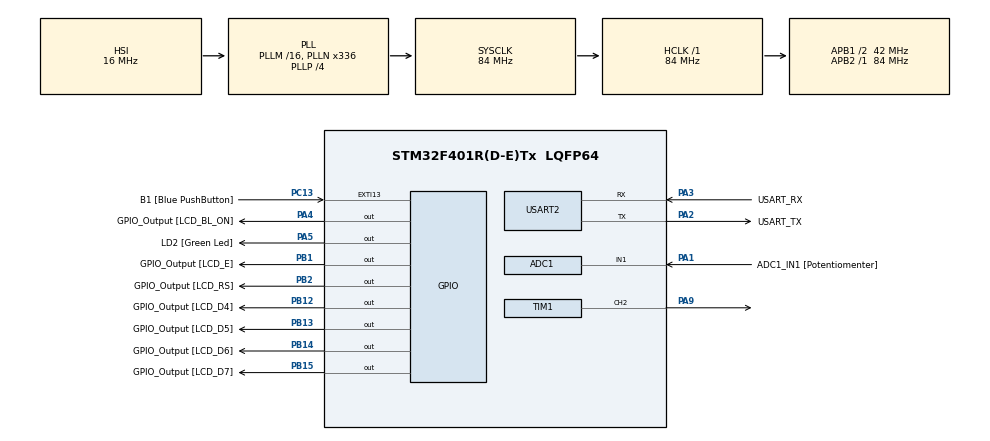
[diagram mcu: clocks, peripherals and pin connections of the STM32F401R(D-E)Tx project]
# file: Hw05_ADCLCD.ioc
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ADC1.Channel-0\#ChannelRegularConversion=ADC_CHANNEL_1
ADC1.DMAContinuousRequests=ENABLE
ADC1.ExternalTrigConv=ADC_EXTERNALTRIGCONV_T2_TRGO
ADC1.NbrOfConversionFlag=1
ADC1.Rank-0\#ChannelRegularConversion=1
ADC1.SamplingTime-0\#ChannelRegularConversion=ADC_SAMPLETIME_480CYCLES
ADC1.master=1
Dma.ADC1.0.Direction=DMA_PERIPH_TO_MEMORY
Dma.ADC1.0.FIFOMode=DMA_FIFOMODE_DISABLE
Dma.ADC1.0.Instance=DMA2_Stream0
Dma.ADC1.0.MemDataAlignment=DMA_MDATAALIGN_HALFWORD
Dma.ADC1.0.MemInc=DMA_MINC_ENABLE
Dma.ADC1.0.Mode=DMA_CIRCULAR
Dma.ADC1.0.PeriphDataAlignment=DMA_PDATAALIGN_HALFWORD
Dma.ADC1.0.PeriphInc=DMA_PINC_DISABLE
Dma.ADC1.0.Priority=DMA_PRIORITY_LOW
Dma.Request0=ADC1
Mcu.Family=STM32F4
Mcu.Name=STM32F401R(D-E)Tx
Mcu.Package=LQFP64
NVIC.DMA2_Stream0_IRQn=true\:0\:0\:false\:false\:true\:false\:true\:true
NVIC.PriorityGroup=NVIC_PRIORITYGROUP_4
PA1.GPIO_Label=ADC1_IN1 [Potentiomenter]
PA1.Signal=ADCx_IN1
PA13.GPIO_Label=TMS
PA13.Mode=Trace_Asynchronous_SW
PA13.Signal=SYS_JTMS-SWDIO
PA14.GPIO_Label=TCK
PA14.Mode=Trace_Asynchronous_SW
PA14.Signal=SYS_JTCK-SWCLK
PA2.GPIO_Label=USART_TX
PA2.GPIO_Mode=GPIO_MODE_AF_PP
PA2.GPIO_PuPd=GPIO_NOPULL
PA2.GPIO_Speed=GPIO_SPEED_FREQ_LOW
PA2.Mode=Asynchronous
PA2.Signal=USART2_TX
PA3.GPIO_Label=USART_RX
PA3.GPIO_Mode=GPIO_MODE_AF_PP
PA3.GPIO_PuPd=GPIO_NOPULL
PA3.GPIO_Speed=GPIO_SPEED_FREQ_LOW
PA3.Mode=Asynchronous
PA3.Signal=USART2_RX
PA4.GPIO_Label=GPIO_Output [LCD_BL_ON]
PA4.Signal=GPIO_Output
PA5.GPIO_Label=LD2 [Green Led]
PA5.GPIO_Mode=GPIO_MODE_OUTPUT_PP
PA5.GPIO_PuPd=GPIO_NOPULL
PA5.GPIO_Speed=GPIO_SPEED_FREQ_LOW
PA5.Signal=GPIO_Output
PA9.Signal=S_TIM1_CH2
PB1.GPIO_Label=GPIO_Output [LCD_E]
PB1.Signal=GPIO_Output
PB12.GPIO_Label=GPIO_Output [LCD_D4]
PB12.Signal=GPIO_Output
PB13.GPIO_Label=GPIO_Output [LCD_D5]
PB13.Signal=GPIO_Output
PB14.GPIO_Label=GPIO_Output [LCD_D6]
PB14.Signal=GPIO_Output
PB15.GPIO_Label=GPIO_Output [LCD_D7]
PB15.Signal=GPIO_Output
PB2.GPIO_Label=GPIO_Output [LCD_RS]
PB2.Signal=GPIO_Output
PB3.GPIO_Label=SWO
PB3.Mode=Trace_Asynchronous_SW
PB3.Signal=SYS_JTDO-SWO
PC13-ANTI_TAMP.GPIO_Label=B1 [Blue PushButton]
PC13-ANTI_TAMP.GPIO_ModeDefaultEXTI=GPIO_MODE_IT_FALLING
PC13-ANTI_TAMP.GPIO_PuPd=GPIO_NOPULL
PC13-ANTI_TAMP.Signal=GPXTI13
PC14-OSC32_IN.Mode=LSE-External-Oscillator
PC14-OSC32_IN.Signal=RCC_OSC32_IN
PC15-OSC32_OUT.Mode=LSE-External-Oscillator
PC15-OSC32_OUT.Signal=RCC_OSC32_OUT
PH0\ -\ OSC_IN.Mode=HSE-External-Clock-Source
PH0\ -\ OSC_IN.Signal=RCC_OSC_IN
PH1\ -\ OSC_OUT.Mode=HSE-External-Clock-Source
PH1\ -\ OSC_OUT.Signal=RCC_OSC_OUT
ProjectManager.HeapSize=0x200
ProjectManager.StackSize=0x400
ProjectManager.TargetToolchain=STM32CubeIDE
RCC.48MHZClocksFreq_Value=48000000
RCC.AHBFreq_Value=84000000
RCC.APB1CLKDivider=RCC_HCLK_DIV2
RCC.APB1Freq_Value=42000000
RCC.APB1TimFreq_Value=84000000
RCC.APB2Freq_Value=84000000
RCC.APB2TimFreq_Value=84000000
RCC.CortexFreq_Value=84000000
RCC.HCLKFreq_Value=84000000
RCC.HSE_VALUE=8000000
RCC.HSI_VALUE=16000000
RCC.PLLN=336
RCC.PLLP=RCC_PLLP_DIV4
RCC.PLLQ=7
RCC.SYSCLKFreq_VALUE=84000000
RCC.SYSCLKSource=RCC_SYSCLKSOURCE_PLLCLK
RCC.VCOOutputFreq_Value=336000000
SH.ADCx_IN1.0=ADC1_IN1,IN1
SH.S_TIM1_CH2.0=TIM1_CH2,PWM Generation2 CH2
TIM1.Channel-PWM\ Generation2\ CH2=TIM_CHANNEL_2
TIM1.Period=65535
TIM1.Prescaler=99
TIM2.Period=9999
TIM2.Prescaler=8399
TIM2.TIM_MasterOutputTrigger=TIM_TRGO_UPDATE
USART2.VirtualMode=VM_ASYNC
VP_TIM1_VS_ClockSourceINT.Mode=Internal
VP_TIM2_VS_ClockSourceINT.Mode=Internal
board=NUCLEO-F401RE

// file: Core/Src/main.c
/* USER CODE BEGIN Header */
/**
  ******************************************************************************
  * @file           : main.c
  * @brief          : Main program body
  ******************************************************************************
  * @attention
  *
  * Copyright (c) 2025 STMicroelectronics.
  * All rights reserved.
  *
  * This software is licensed under terms that can be found in the LICENSE file
  * in the root directory of this software component.
  * If no LICENSE file comes with this software, it is provided AS-IS.
  *
  ******************************************************************************
  */
/* USER CODE END Header */
#include "main.h"

/* USER CODE BEGIN Includes */
#include "stdio.h"
#include "PMDB16_LCD.h"
/* USER CODE END Includes */

/* USER CODE BEGIN PTD */
typedef struct {
	uint32_t tone;
	uint32_t duration;
} Note;
/* USER CODE END PTD */

/* USER CODE BEGIN PD */
#define DO 3205
#define DOD 3031
#define RE 2856
#define RED 2700
#define MI 2544
#define FA 2406
#define FAD 2269
#define SOL 2142
#define SOLD 2023
#define LA 1908
#define LAD 1802
#define SI 1699

//#define TEMPO 100

#define DEBOUNCE 200
/* USER CODE END PD */

ADC_HandleTypeDef hadc1;
DMA_HandleTypeDef hdma_adc1;

TIM_HandleTypeDef htim1;
TIM_HandleTypeDef htim2;

UART_HandleTypeDef huart2;

/* USER CODE BEGIN PV */
uint16_t adc_dma_buffer;
const Note song[24] = {
		{SOL, 3}, {LA, 1}, {SOL, 2}, {FA, 2},
		{MI, 2}, {FA, 2}, {SOL, 4},
		{RE, 2}, {MI, 2}, {FA, 4},
		{MI, 2}, {FA, 2}, {SOL, 4},
		{SOL, 3}, {LA, 1}, {SOL, 2}, {FA, 2},
		{MI, 2}, {FA, 2}, {SOL, 4},
		{RE, 4}, {SOL, 4},
		{MI, 2}, {DO, 6},
};

volatile uint32_t current_tempo = 100; // New global variable
volatile uint8_t isPlaying = 0;        // Ensure these are declared globally!
volatile uint32_t last_tick = 0;
/* USER CODE END PV */

void SystemClock_Config(void);
static void MX_GPIO_Init(void);
static void MX_DMA_Init(void);
static void MX_USART2_UART_Init(void);
static void MX_ADC1_Init(void);
static void MX_TIM2_Init(void);
static void MX_TIM1_Init(void);

/* USER CODE BEGIN 0 */
void playSong() {
    HAL_GPIO_WritePin(GPIOA, GPIO_PIN_5, GPIO_PIN_SET);
    isPlaying = 1;
    int length = sizeof(song)/sizeof(song[0]);
    for (int i = 0; i < length; i++) {
        __HAL_TIM_SET_AUTORELOAD(&htim1, song[i].tone);
        __HAL_TIM_SET_COMPARE(&htim1, TIM_CHANNEL_2, song[i].tone/2);
        __HAL_TIM_SET_COUNTER(&htim1, 0);

        HAL_TIM_PWM_Start(&htim1, TIM_CHANNEL_2);

        // ENABLE THE ADVANCED TIMER MAIN OUTPUT:
        __HAL_TIM_MOE_ENABLE(&htim1);

        HAL_Delay(song[i].duration * current_tempo);

        HAL_TIM_PWM_Stop(&htim1, TIM_CHANNEL_2);
    }
    isPlaying = 0;
    HAL_GPIO_WritePin(GPIOA, GPIO_PIN_5, GPIO_PIN_RESET);
}

void HAL_ADC_ConvCpltCallback(ADC_HandleTypeDef* hadc) {
    float voltage = adc_dma_buffer*3.3/4096.0;
    char string[17];
    snprintf(string, sizeof(string), "Voltage: %.3f V", voltage);
    lcd_println(string, 0);
    int bar = voltage * 80 / 3.3;
    lcd_drawBar(bar);

    // MAP ADC VALUE TO TEMPO
    // Example: Map 0-4095 to a delay multiplier of 20ms to 200ms
    // The lower the ADC value, the faster the song (or vice versa, customize as needed)
    current_tempo = 20 + ((adc_dma_buffer * 180) / 4095);
}
volatile uint8_t play_request = 1; // Add this to your Private Variables (PV)

//void HAL_GPIO_EXTI_Callback(uint16_t GPIO_Pin) {
//    // Change GPIO_PIN_8 to B1_Pin
//    if (GPIO_Pin == GPIO_PIN_8) {
//        uint32_t tick = HAL_GetTick();
//        uint32_t delta = tick - last_tick;
//        if (!isPlaying && delta >= DEBOUNCE) {
//            play_request = 1;
//            last_tick = HAL_GetTick();
//        }
//    }
//}
/* USER CODE END 0 */

int main(void)
{

  /* MCU Configuration--------------------------------------------------------*/

  /* Reset of all peripherals, Initializes the Flash interface and the Systick. */
  HAL_Init();

  /* Configure the system clock */
  SystemClock_Config();

  /* Initialize all configured peripherals */
  MX_GPIO_Init();
  MX_DMA_Init();
  MX_USART2_UART_Init();
  MX_ADC1_Init();
  MX_TIM2_Init();
  MX_TIM1_Init();
  /* USER CODE BEGIN 2 */
  lcd_initialize();
  HAL_ADC_Start_DMA(&hadc1, (uint32_t*)&adc_dma_buffer, 1);
  HAL_TIM_Base_Start(&htim2);
  HAL_TIM_Base_Start(&htim1);

  /* USER CODE END 2 */

  /* Infinite loop */
  while (1)
  {

    /* USER CODE BEGIN 3 */
	  if (play_request == 1) {
	            play_request = 0;
	            playSong();
	        }
  }
  /* USER CODE END 3 */
}

void SystemClock_Config(void)
{
  RCC_OscInitTypeDef RCC_OscInitStruct = {0};
  RCC_ClkInitTypeDef RCC_ClkInitStruct = {0};

  /** Configure the main internal regulator output voltage
  */
  __HAL_RCC_PWR_CLK_ENABLE();
  __HAL_PWR_VOLTAGESCALING_CONFIG(PWR_REGULATOR_VOLTAGE_SCALE2);

  /** Initializes the RCC Oscillators according to the specified parameters
  * in the RCC_OscInitTypeDef structure.
  */
  RCC_OscInitStruct.OscillatorType = RCC_OSCILLATORTYPE_HSI;
  RCC_OscInitStruct.HSIState = RCC_HSI_ON;
  RCC_OscInitStruct.HSICalibrationValue = RCC_HSICALIBRATION_DEFAULT;
  RCC_OscInitStruct.PLL.PLLState = RCC_PLL_ON;
  RCC_OscInitStruct.PLL.PLLSource = RCC_PLLSOURCE_HSI;
  RCC_OscInitStruct.PLL.PLLM = 16;
  RCC_OscInitStruct.PLL.PLLN = 336;
  RCC_OscInitStruct.PLL.PLLP = RCC_PLLP_DIV4;
  RCC_OscInitStruct.PLL.PLLQ = 7;
  if (HAL_RCC_OscConfig(&RCC_OscInitStruct) != HAL_OK)
  {
    Error_Handler();
  }

  /** Initializes the CPU, AHB and APB buses clocks
  */
  RCC_ClkInitStruct.ClockType = RCC_CLOCKTYPE_HCLK|RCC_CLOCKTYPE_SYSCLK
                              |RCC_CLOCKTYPE_PCLK1|RCC_CLOCKTYPE_PCLK2;
  RCC_ClkInitStruct.SYSCLKSource = RCC_SYSCLKSOURCE_PLLCLK;
  RCC_ClkInitStruct.AHBCLKDivider = RCC_SYSCLK_DIV1;
  RCC_ClkInitStruct.APB1CLKDivider = RCC_HCLK_DIV2;
  RCC_ClkInitStruct.APB2CLKDivider = RCC_HCLK_DIV1;

  if (HAL_RCC_ClockConfig(&RCC_ClkInitStruct, FLASH_LATENCY_2) != HAL_OK)
  {
    Error_Handler();
  }
}

static void MX_ADC1_Init(void)
{

  ADC_ChannelConfTypeDef sConfig = {0};

  /** Configure the global features of the ADC (Clock, Resolution, Data Alignment and number of conversion)
  */
  hadc1.Instance = ADC1;
  hadc1.Init.ClockPrescaler = ADC_CLOCK_SYNC_PCLK_DIV4;
  hadc1.Init.Resolution = ADC_RESOLUTION_12B;
  hadc1.Init.ScanConvMode = DISABLE;
  hadc1.Init.ContinuousConvMode = DISABLE;
  hadc1.Init.DiscontinuousConvMode = DISABLE;
  hadc1.Init.ExternalTrigConvEdge = ADC_EXTERNALTRIGCONVEDGE_RISING;
  hadc1.Init.ExternalTrigConv = ADC_EXTERNALTRIGCONV_T2_TRGO;
  hadc1.Init.DataAlign = ADC_DATAALIGN_RIGHT;
  hadc1.Init.NbrOfConversion = 1;
  hadc1.Init.DMAContinuousRequests = ENABLE;
  hadc1.Init.EOCSelection = ADC_EOC_SINGLE_CONV;
  if (HAL_ADC_Init(&hadc1) != HAL_OK)
  {
    Error_Handler();
  }

  /** Configure for the selected ADC regular channel its corresponding rank in the sequencer and its sample time.
  */
  sConfig.Channel = ADC_CHANNEL_1;
  sConfig.Rank = 1;
  sConfig.SamplingTime = ADC_SAMPLETIME_480CYCLES;
  if (HAL_ADC_ConfigChannel(&hadc1, &sConfig) != HAL_OK)
  {
    Error_Handler();
  }

}

static void MX_TIM1_Init(void)
{

  TIM_ClockConfigTypeDef sClockSourceConfig = {0};
  TIM_MasterConfigTypeDef sMasterConfig = {0};
  TIM_OC_InitTypeDef sConfigOC = {0};
  TIM_BreakDeadTimeConfigTypeDef sBreakDeadTimeConfig = {0};

  htim1.Instance = TIM1;
  htim1.Init.Prescaler = 99;
  htim1.Init.CounterMode = TIM_COUNTERMODE_UP;
  htim1.Init.Period = 65535;
  htim1.Init.ClockDivision = TIM_CLOCKDIVISION_DIV1;
  htim1.Init.RepetitionCounter = 0;
  htim1.Init.AutoReloadPreload = TIM_AUTORELOAD_PRELOAD_DISABLE;
  if (HAL_TIM_Base_Init(&htim1) != HAL_OK)
  {
    Error_Handler();
  }
  sClockSourceConfig.ClockSource = TIM_CLOCKSOURCE_INTERNAL;
  if (HAL_TIM_ConfigClockSource(&htim1, &sClockSourceConfig) != HAL_OK)
  {
    Error_Handler();
  }
  if (HAL_TIM_PWM_Init(&htim1) != HAL_OK)
  {
    Error_Handler();
  }
  sMasterConfig.MasterOutputTrigger = TIM_TRGO_RESET;
  sMasterConfig.MasterSlaveMode = TIM_MASTERSLAVEMODE_DISABLE;
  if (HAL_TIMEx_MasterConfigSynchronization(&htim1, &sMasterConfig) != HAL_OK)
  {
    Error_Handler();
  }
  sConfigOC.OCMode = TIM_OCMODE_PWM1;
  sConfigOC.Pulse = 0;
  sConfigOC.OCPolarity = TIM_OCPOLARITY_HIGH;
  sConfigOC.OCNPolarity = TIM_OCNPOLARITY_HIGH;
  sConfigOC.OCFastMode = TIM_OCFAST_DISABLE;
  sConfigOC.OCIdleState = TIM_OCIDLESTATE_RESET;
  sConfigOC.OCNIdleState = TIM_OCNIDLESTATE_RESET;
  if (HAL_TIM_PWM_ConfigChannel(&htim1, &sConfigOC, TIM_CHANNEL_2) != HAL_OK)
  {
    Error_Handler();
  }
  sBreakDeadTimeConfig.OffStateRunMode = TIM_OSSR_DISABLE;
  sBreakDeadTimeConfig.OffStateIDLEMode = TIM_OSSI_DISABLE;
  sBreakDeadTimeConfig.LockLevel = TIM_LOCKLEVEL_OFF;
  sBreakDeadTimeConfig.DeadTime = 0;
  sBreakDeadTimeConfig.BreakState = TIM_BREAK_DISABLE;
  sBreakDeadTimeConfig.BreakPolarity = TIM_BREAKPOLARITY_HIGH;
  sBreakDeadTimeConfig.AutomaticOutput = TIM_AUTOMATICOUTPUT_DISABLE;
  if (HAL_TIMEx_ConfigBreakDeadTime(&htim1, &sBreakDeadTimeConfig) != HAL_OK)
  {
    Error_Handler();
  }
  HAL_TIM_MspPostInit(&htim1);

}

static void MX_TIM2_Init(void)
{

  TIM_ClockConfigTypeDef sClockSourceConfig = {0};
  TIM_MasterConfigTypeDef sMasterConfig = {0};

  htim2.Instance = TIM2;
  htim2.Init.Prescaler = 8399;
  htim2.Init.CounterMode = TIM_COUNTERMODE_UP;
  htim2.Init.Period = 9999;
  htim2.Init.ClockDivision = TIM_CLOCKDIVISION_DIV1;
  htim2.Init.AutoReloadPreload = TIM_AUTORELOAD_PRELOAD_DISABLE;
  if (HAL_TIM_Base_Init(&htim2) != HAL_OK)
  {
    Error_Handler();
  }
  sClockSourceConfig.ClockSource = TIM_CLOCKSOURCE_INTERNAL;
  if (HAL_TIM_ConfigClockSource(&htim2, &sClockSourceConfig) != HAL_OK)
  {
    Error_Handler();
  }
  sMasterConfig.MasterOutputTrigger = TIM_TRGO_UPDATE;
  sMasterConfig.MasterSlaveMode = TIM_MASTERSLAVEMODE_DISABLE;
  if (HAL_TIMEx_MasterConfigSynchronization(&htim2, &sMasterConfig) != HAL_OK)
  {
    Error_Handler();
  }

}

static void MX_USART2_UART_Init(void)
{

  huart2.Instance = USART2;
  huart2.Init.BaudRate = 115200;
  huart2.Init.WordLength = UART_WORDLENGTH_8B;
  huart2.Init.StopBits = UART_STOPBITS_1;
  huart2.Init.Parity = UART_PARITY_NONE;
  huart2.Init.Mode = UART_MODE_TX_RX;
  huart2.Init.HwFlowCtl = UART_HWCONTROL_NONE;
  huart2.Init.OverSampling = UART_OVERSAMPLING_16;
  if (HAL_UART_Init(&huart2) != HAL_OK)
  {
    Error_Handler();
  }

}

static void MX_DMA_Init(void)
{

  /* DMA controller clock enable */
  __HAL_RCC_DMA2_CLK_ENABLE();

  /* DMA interrupt init */
  /* DMA2_Stream0_IRQn interrupt configuration */
  HAL_NVIC_SetPriority(DMA2_Stream0_IRQn, 0, 0);
  HAL_NVIC_EnableIRQ(DMA2_Stream0_IRQn);

}

static void MX_GPIO_Init(void)
{
  GPIO_InitTypeDef GPIO_InitStruct = {0};

  /* GPIO Ports Clock Enable */
  __HAL_RCC_GPIOC_CLK_ENABLE();
  __HAL_RCC_GPIOH_CLK_ENABLE();
  __HAL_RCC_GPIOA_CLK_ENABLE();
  __HAL_RCC_GPIOB_CLK_ENABLE();

  /*Configure GPIO pin Output Level */
  HAL_GPIO_WritePin(GPIOA, GPIO_Output_Pin|LD2_Pin, GPIO_PIN_RESET);

  /*Configure GPIO pin Output Level */
  HAL_GPIO_WritePin(GPIOB, GPIO_OutputB1_Pin|GPIO_OutputB2_Pin|GPIO_OutputB12_Pin|GPIO_OutputB13_Pin
                          |GPIO_OutputB14_Pin|GPIO_OutputB15_Pin, GPIO_PIN_RESET);

  /*Configure GPIO pin : B1_Pin */
  GPIO_InitStruct.Pin = B1_Pin;
  GPIO_InitStruct.Mode = GPIO_MODE_IT_FALLING;
  GPIO_InitStruct.Pull = GPIO_NOPULL;
  HAL_GPIO_Init(B1_GPIO_Port, &GPIO_InitStruct);

  /*Configure GPIO pins : GPIO_Output_Pin LD2_Pin */
  GPIO_InitStruct.Pin = GPIO_Output_Pin|LD2_Pin;
  GPIO_InitStruct.Mode = GPIO_MODE_OUTPUT_PP;
  GPIO_InitStruct.Pull = GPIO_NOPULL;
  GPIO_InitStruct.Speed = GPIO_SPEED_FREQ_LOW;
  HAL_GPIO_Init(GPIOA, &GPIO_InitStruct);

  /*Configure GPIO pins : GPIO_OutputB1_Pin GPIO_OutputB2_Pin GPIO_OutputB12_Pin GPIO_OutputB13_Pin
                           GPIO_OutputB14_Pin GPIO_OutputB15_Pin */
  GPIO_InitStruct.Pin = GPIO_OutputB1_Pin|GPIO_OutputB2_Pin|GPIO_OutputB12_Pin|GPIO_OutputB13_Pin
                          |GPIO_OutputB14_Pin|GPIO_OutputB15_Pin;
  GPIO_InitStruct.Mode = GPIO_MODE_OUTPUT_PP;
  GPIO_InitStruct.Pull = GPIO_NOPULL;
  GPIO_InitStruct.Speed = GPIO_SPEED_FREQ_LOW;
  HAL_GPIO_Init(GPIOB, &GPIO_InitStruct);

}

void Error_Handler(void)
{
  __disable_irq();
  while (1)
  {
  }
}
